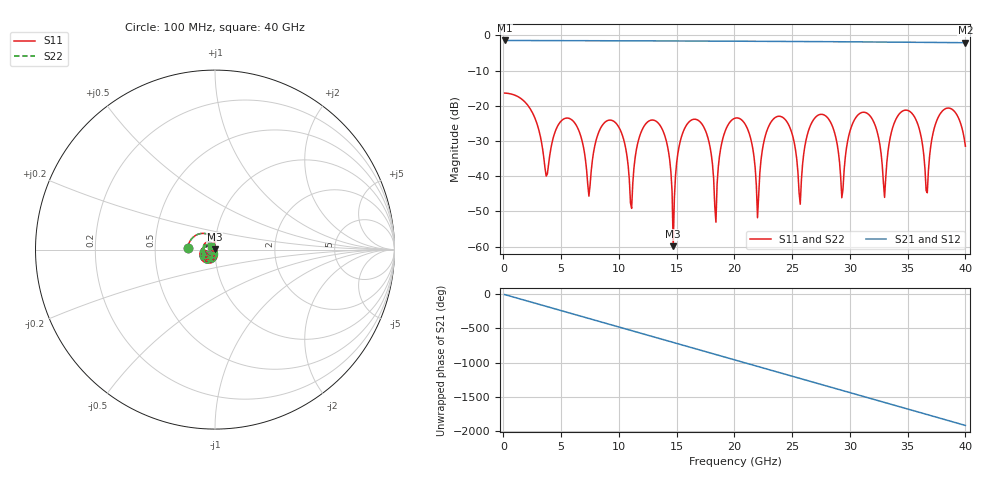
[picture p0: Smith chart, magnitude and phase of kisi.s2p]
! T_ts6_sl_20: Stripline In2, ThunderScope stack, w 0.183 mm, 20 mm
! stackup: ThunderScope Rev5.3 6-layer (FR408HR / FR-4, from the board file)
! ports: 1 near A, 2 far A
! kisi-fdtd, conformal, dfine 0.035 mm, 615328 cells
# Hz S RI R 50
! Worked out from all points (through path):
!   400 points, 100 MHz to 40 GHz, reference 50 ohm
!   highest |S21| = -1.42 dB at 100 MHz (marker M1); lowest = -2.1 dB at 40 GHz (marker M2)
!   group delay of S21, straight-line fit = 133 ps
!   lowest |S11| = -59.9 dB at 14.7 GHz (marker M3), VSWR 1.00, Z = 49.9 + j0.0579 ohm
!   |S11| at or under -10 dB: start of sweep to end of sweep
!   |S22| runs from -59.9 to -16.4 dB; largest |S21 - S12| = 0
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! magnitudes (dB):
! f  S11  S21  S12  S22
! 100 MHz  -16.4  -1.4  -1.4  -16.4
! 3.7 GHz  -40.0  -1.5  -1.5  -40.0
! 6.8 GHz  -29.8  -1.5  -1.5  -29.8
! 7.4 GHz  -45.6  -1.5  -1.5  -45.6
! 9.9 GHz  -25.6  -1.5  -1.5  -25.6
! 11.1 GHz  -49.1  -1.5  -1.5  -49.1
! 13.4 GHz  -24.9  -1.5  -1.5  -24.9
! 14.4 GHz  -35.5  -1.6  -1.6  -35.5
! 14.7 GHz  -59.9  -1.6  -1.6  -59.9
! 15.7 GHz  -26.3  -1.6  -1.6  -26.3
! 17.6 GHz  -28.0  -1.6  -1.6  -28.0
! 18.4 GHz  -53.0  -1.6  -1.6  -53.0
! 20.1 GHz  -23.5  -1.6  -1.6  -23.5
! 22 GHz  -51.8  -1.7  -1.7  -51.8
! 23.1 GHz  -25.0  -1.7  -1.7  -25.0
! 25.7 GHz  -47.9  -1.7  -1.7  -47.9
! 26.7 GHz  -24.8  -1.7  -1.7  -24.8
! 29.3 GHz  -46.1  -1.8  -1.8  -46.1
! 30.6 GHz  -22.9  -1.8  -1.8  -22.9
! 33 GHz  -46.0  -1.9  -1.9  -46.0
! 33.4 GHz  -30.6  -1.9  -1.9  -30.6
! 40 GHz  -31.4  -2.1  -2.1  -31.4
